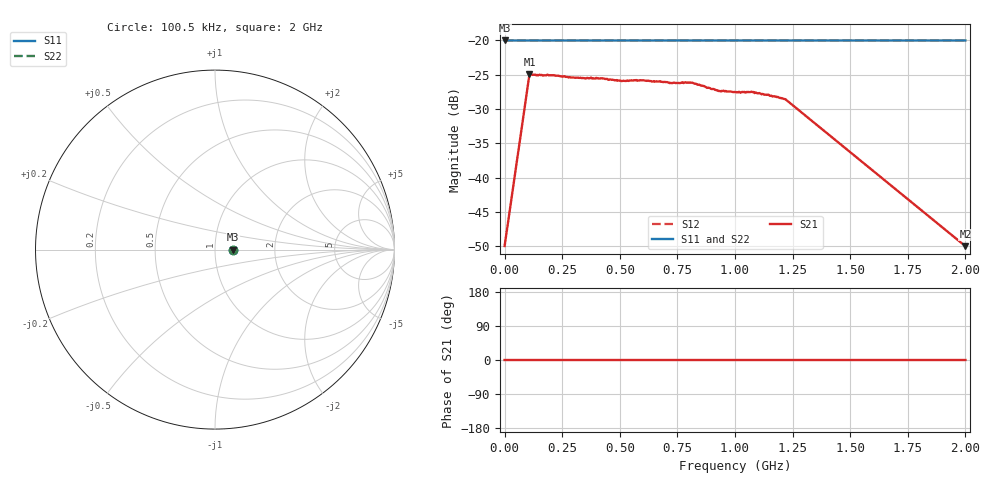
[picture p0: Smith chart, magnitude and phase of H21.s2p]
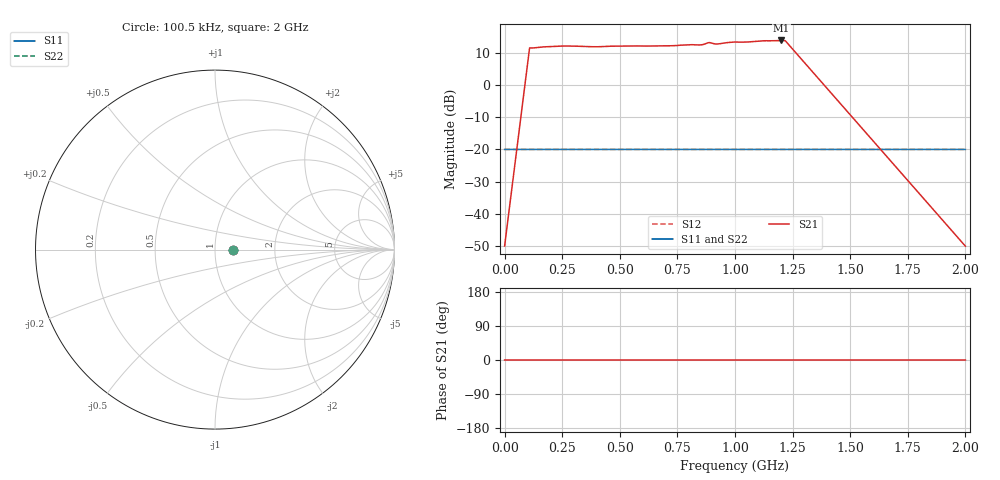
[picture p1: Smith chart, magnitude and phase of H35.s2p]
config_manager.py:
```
# Unified Configuration Manager for WBFFT Analyzer
# Version: 1.0
#
# Description:
# This file consolidates all device-specific configurations into a single,
# easy-to-manage dictionary. The main script will load the appropriate
# configuration from this file based on the --image command-line argument.

CONFIGURATIONS = {
    'CS': {
        # CommScope Configuration
        'jumpbox_hostname': 'jump.autobahn.comcast.com',
        'jumpbox_username': "svcAutobahn",
        'target_ecm_mac' : '',
        'target_hostname': '',
        'target_username': "cli",
        'target_password': "cli",
        'result_path': "./out",
        'result_filename_appendix': "",
        'get_ip_path': "./",
        'get_ip_script': 'getip.py',
        'cm_domain': 'PROD',
        'channels': '99M-1215M(6M)',
        's2p_remote_path': "/run/data/calibration/",
        's2p_filenames': {
            'H21': 'H21.s2p',
            'H35': 'H35.s2p',
            'H65': 'H65.s2p'
        },
        'additional_comp_remote_path': '/tmp/',
        'additional_comp_filenames': {},
        'startFreq': 96000000,
        'endFreq': 1218000000,
        'runDuration': 1000,
        'aggrPeriod': 1000,
        'triggerCount': 0,
        'outputFormat': "FreqDomainDb",
        'fftSize': 16384,
        'windowMode': "Blackman-Harris",
        'averagingMode': "Time",
        'samplingRate': 1647000000,
        'rfboard_commands': ["setNorthPortSwitch Downstream", "showModuleInfo"],
        'hal_commands': ["/leap/lafe_show_status 0", "/leap/lafe_show_status 4", "/leap/fafe_show_status 0", "/leap/fafe_show_status 4"]
    },
    'CC': {
        # Comcast (RDK) Configuration
        'jumpbox_hostname': 'jump.autobahn.comcast.com',
        'jumpbox_username': "svcAutobahn",
        'target_ecm_mac': '24:a1:86:09:65:fc',
        'target_hostname': '',
        'target_username': "admin",
        'target_password': "AMPadmin",
        'result_path': "./out",
        'result_filename_appendix': "",
        'get_ip_path': "./",
        'path': "./out",        
        'get_ip_script': 'getip.py',
        'cm_domain': 'PROD',
        's2p_remote_path': "/run/data/calibration/",
        's2p_filenames': {
            'H21': 'H21.s2p',
            'H35': 'H35.s2p',
            'H65': 'H65.s2p'
        },
        'additional_comp_remote_path': '/tmp/',
        'additional_comp_filenames': {},
        'startFreq': 96000000,
        'endFreq': 1218000000,
        'runDuration': 1000,
        'aggrPeriod': 1000,
        'triggerCount': 0,
        'outputFormat': "FreqDomainDb",
        'fftSize': 16384,
        'windowMode': "Blackman-Harris",
        'averagingMode': "Time",
        'samplingRate': 1647000000,
        'rfboard_commands': ["north-port-switch-path ds", "showModuleInfo"],
        'hal_commands': ["/leap/lafe_show_status 0", "/leap/lafe_show_status 4", "/leap/lafe_show_status 5", "/leap/fafe_show_status 0", "/leap/fafe_show_status 4"]
    },
    'SC': {
        # Sercomm Configuration
        'jumpbox_hostname': 'jump.autobahn.comcast.com',
        'jumpbox_username': "svcAutobahn",
        'target_ecm_mac': '',
        'target_hostname': '2001:0558:6034:000C:1090:5905:E54B:CB40',
        'target_username': "root",
        'target_password': "",
        'result_path': "./out",
        'result_filename_appendix': "",
        'get_ip_path': "./",
        'path': "./",        
        'get_ip_script': 'getip.py',
        'cm_domain': 'PROD',
        's2p_remote_path': "/mnt/sc_nonvol/s2p_files/",
        'additional_comp_remote_path': "/mnt/nonvol_active/",
        's2p_filenames': {
            'H21': 'H21.s2p',
            'H35': 'H35_1p2G.s2p',
            'H65': 'mode3/H65_1p2G.s2p'
        },
        'additional_comp_filenames': {
            'SP_DTS_OUT': "SP_DTS_OUT_1p2G_Mode.DAT",
            'SF_WBFFT_ADC': "SF_WBFFT_ADC_DP0_Factory_1p2G_Mode.txt"
        },
        'startFreq': 96000000,
        'endFreq': 1218000000,
        'runDuration': 1000,
        'aggrPeriod': 1000,
        'triggerCount': 0,
        'outputFormat': "FreqDomainDb",
        'fftSize': 16384,
        'windowMode': "Blackman-Harris",
        'averagingMode': "Time",
        'samplingRate': 1647000000,
        'rfboard_init_command': "tempsensor.sh init",
        'rfboard_commands': ["tempsensor.sh read", "sc_rfboard_cli set_np_monitor_input ds", "sc_rfboard_cli get_pa_current 0", "sc_rfboard_cli get_attenuation 0", "sc_rfboard_cli get_var_tilt 0"],
        'hal_commands': ["/leap/lafe_show_status 0", "/leap/lafe_show_status 4", "/leap/lafe_show_status 5", "/leap/fafe_show_status 0", "/leap/fafe_show_status 4"],
        'brcm_commands' : ['dump_avs']
    }
}
```
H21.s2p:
!Keysight  Technologies  E5080A  MY55200964  A.12.55.09
!Correction:  S11(Full  2  Port(1  2))
!S21(Full  2  Port(1  2))
!S12(Full  2  Port(1  2))
!S22(Full  2  Port(1  2))
!S2P  File:  Measurements:  S11 S21 S12 S22:
#  Hz  S  dB  R  50
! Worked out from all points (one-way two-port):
!   19894 points, 100.5 kHz to 2 GHz, reference 50 ohm
!   highest |S21| = -24.92 dB at 108.1 MHz (marker M1); lowest = -50.0 dB at 2 GHz (marker M2)
!   lowest |S11| = -20.0 dB at 100.5 kHz (marker M3), VSWR 1.22, Z = 61.1 + j0 ohm
!   |S11| at or under -10 dB: start of sweep to end of sweep
!   |S22| runs from -20.0 to -20.0 dB; largest |S21 - S12| = 0.097
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100524.9  -20.00 0.0  -49.98 0.0  -20.00 0.0  -20.00 0.0
9549866  -20.00 0.0  -47.78 0.0  -20.00 0.0  -20.00 0.0
9.881598e7  -20.00 0.0  -27.05 0.0  -20.00 0.0  -20.00 0.0
1.080643e8  -20.00 0.0  -24.92 0.0  -20.00 0.0  -20.00 0.0
1.177147e8  -20.00 0.0  -24.96 0.0  -20.00 0.0  -20.00 0.0
8.081197e8  -20.00 0.0  -26.14 0.0  -20.00 0.0  -20.00 0.0
9.293527e8  -20.00 0.0  -27.37 0.0  -20.00 0.0  -20.00 0.0
1.000022e9  -20.00 0.0  -27.53 0.0  -20.00 0.0  -20.00 0.0
1.073405e9  -20.00 0.0  -27.51 0.0  -20.00 0.0  -20.00 0.0
1.223589e9  -20.00 0.0  -28.71 0.0  -20.00 0.0  -20.00 0.0
1.999842e9  -20.00 0.0  -50.00 0.0  -20.00 0.0  -20.00 0.0
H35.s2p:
!Keysight  Technologies  E5080A  MY55200964  A.12.55.09
!Correction:  S11(Full  2  Port(1  2))
!S21(Full  2  Port(1  2))
!S12(Full  2  Port(1  2))
!S22(Full  2  Port(1  2))
!S2P  File:  Measurements:  S11 S21 S12 S22:
#  Hz  S  dB  R  50
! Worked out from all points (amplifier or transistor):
!   19894 points, 100.5 kHz to 2 GHz, reference 50 ohm
!   highest |S21| = 13.8 dB at 1.201 GHz (marker M1)
!   |S21| within 3 dB of that: 106.8 MHz to 1.254 GHz (1.147 GHz wide, 169 % of centre)
!   unconditionally stable (mu >= 1): start of sweep to end of sweep
!   at 333.3 MHz: K = 1.42, MAG = 12.1 dB, |S12| = -20.0 dB
!   at 1 GHz: K = 1.28, MAG = 13.5 dB, |S12| = -20.0 dB
!   at 2 GHz: K = 1547.38, MAG = -49.9 dB, |S12| = -20.0 dB
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100524.9  -20.00 0.0  -49.94 0.0  -20.00 0.0  -20.00 0.0
7.569525e7  -20.00 0.0  -6.92 0.0  -20.00 0.0  -20.00 0.0
8.936664e7  -20.00 0.0  0.86 0.0  -20.00 0.0  -20.00 0.0
1.078632e8  -20.00 0.0  11.38 0.0  -20.00 0.0  -20.00 0.0
1.176141e8  -20.00 0.0  11.43 0.0  -20.00 0.0  -20.00 0.0
1.000022e9  -20.00 0.0  13.29 0.0  -20.00 0.0  -20.00 0.0
1.201373e9  -20.00 0.0  13.78 0.0  -20.00 0.0  -20.00 0.0
1.314866e9  -20.00 0.0  5.81 0.0  -20.00 0.0  -20.00 0.0
1.432078e9  -20.00 0.0  -3.73 0.0  -20.00 0.0  -20.00 0.0
1.610911e9  -20.00 0.0  -18.30 0.0  -20.00 0.0  -20.00 0.0
1.999842e9  -20.00 0.0  -49.99 0.0  -20.00 0.0  -20.00 0.0
